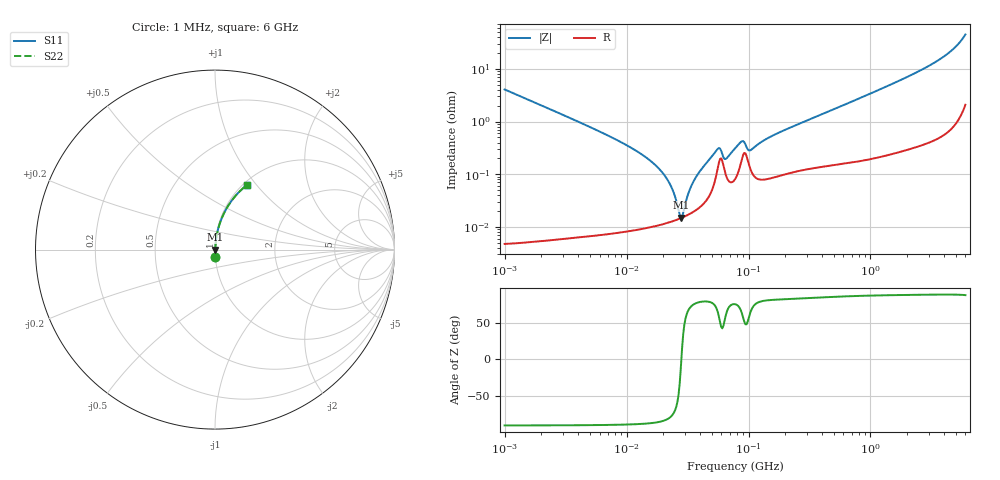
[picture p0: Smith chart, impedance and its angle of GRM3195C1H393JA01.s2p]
!Murata Part Number: GRM3195C1H393JA01
!These Parameters are Measured in Series Mode Connection
!Data Generated on Mar 30, 2021
!  o--ll--o
!Port1  Port2
!  o------o
!Operation Temp=25[degC], DC Bias Voltage=0[V]
!Freq. Start=1000[kHz] Stop=6[GHz] 401[Steps]
# Hz S RI R 50
!Freq.(Hz) S11(Real) S11(Imag) S21(Real) S21(Imag) S12(Real) S12(Imag) S22(Real) S22(Imag)
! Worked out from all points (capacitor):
!   401 points, 1 MHz to 6 GHz, reference 50 ohm
!   read as one part in series: C = 39 nF near 1.044 MHz
!   lowest |Z| = 14.9 mohm at 27.87 MHz (marker M1)
!   series resonance near 28.14 MHz, so ESL is about 820 pH
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1000000  0.0017 -0.0406  0.9983 0.0406  0.9983 0.0406  0.0017 -0.0406
4293785  0.00015 -0.00926  0.9999 0.00926  0.9999 0.00926  0.00015 -0.00926
1.117988e7  9.41e-05 -0.00307  0.9999 0.00307  0.9999 0.00307  9.41e-05 -0.00307
1.843659e7  0.000109 -0.00127  0.9999 0.00127  0.9999 0.00127  0.000109 -0.00127
2.291577e7  0.000124 -0.000606  0.9999 0.000606  0.9999 0.000606  0.000124 -0.000606
2.787038e7  0.000146 -2.8e-05  0.9999 2.8e-05  0.9999 2.8e-05  0.000146 -2.8e-05
2.910942e7  0.000153 0.000101  0.9998 -0.000101  0.9998 -0.000101  0.000153 0.000101
3.245342e7  0.000173 0.000431  0.9998 -0.000431  0.9998 -0.000431  0.000173 0.000431
3.618157e7  0.0002 0.000776  0.9998 -0.000776  0.9998 -0.000776  0.0002 0.000776
5.351853e7  0.000818 0.00253  0.9992 -0.00253  0.9992 -0.00253  0.000818 0.00253
5.712686e7  0.00165 0.00266  0.9984 -0.00266  0.9984 -0.00266  0.00165 0.00266
6.508975e7  0.000976 0.00168  0.999 -0.00168  0.999 -0.00168  0.000976 0.00168
7.745967e7  0.000808 0.00298  0.9992 -0.00298  0.9992 -0.00298  0.000808 0.00298
8.825674e7  0.00195 0.00374  0.998 -0.00374  0.998 -0.00374  0.00195 0.00374
1.005588e8  0.00156 0.00236  0.9984 -0.00236  0.9984 -0.00236  0.00156 0.00236
1.050294e8  0.00116 0.00265  0.9988 -0.00265  0.9988 -0.00265  0.00116 0.00265
1.520136e8  0.000861 0.0051  0.9991 -0.0051  0.9991 -0.0051  0.000861 0.0051
3.325952e8  0.00142 0.0114  0.9986 -0.0114  0.9986 -0.0114  0.00142 0.0114
1.428092e9  0.00471 0.0487  0.9953 -0.0487  0.9953 -0.0487  0.00471 0.0487
3.638376e9  0.0261 0.1438  0.9739 -0.1438  0.9739 -0.1438  0.0261 0.1438
4.93336e9  0.0687 0.2366  0.9313 -0.2366  0.9313 -0.2366  0.0687 0.2366
6e9  0.1799 0.3616  0.8201 -0.3616  0.8201 -0.3616  0.1799 0.3616
